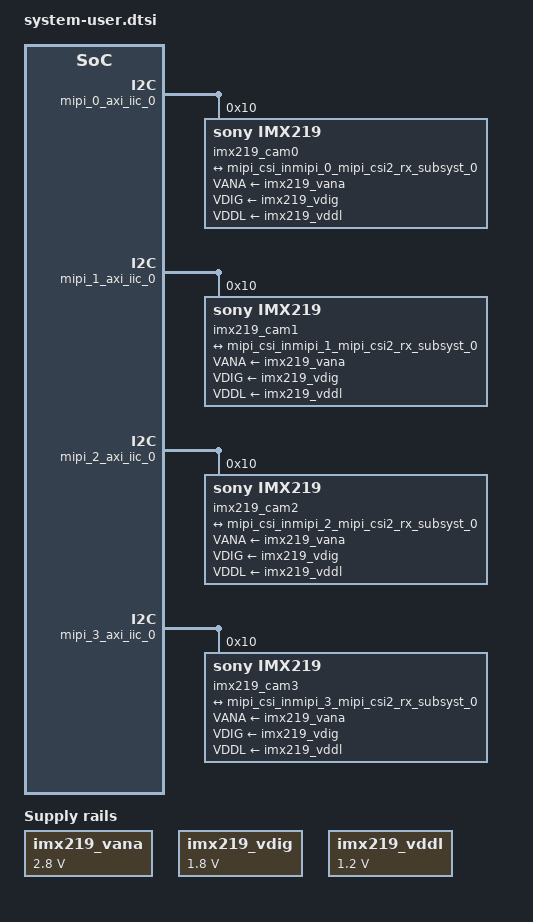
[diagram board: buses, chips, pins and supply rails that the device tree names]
/include/ "system-conf.dtsi"
/ {
};

&amba_pl {
	imx219_clk: imx219_clk {
		#clock-cells = <0x0>;
		clock-frequency = <24000000>;
		compatible = "fixed-clock";
	};


	imx219_vana: fixedregulator@3 {
		compatible = "regulator-fixed";
		regulator-name = "imx219_vana";
		regulator-min-microvolt = <2800000>;
		regulator-max-microvolt = <2800000>;
		enable-active-high;
	};

	imx219_vdig: fixedregulator@4 {
		compatible = "regulator-fixed";
		regulator-name = "imx219_vdig";
		regulator-min-microvolt = <1800000>;
		regulator-max-microvolt = <1800000>;
	};

	imx219_vddl: fixedregulator@5 {
		compatible = "regulator-fixed";
		regulator-name = "imx219_vddl";
		regulator-min-microvolt = <1200000>;
		regulator-max-microvolt = <1200000>;
	};
	
};

&mipi_0_axi_iic_0 {
	imx219_cam0: sensor@10 {
		compatible = "sony,imx219";
		reg = <0x10>;
		clocks = <&imx219_clk>;
		VANA-supply = <&imx219_vana>;   /* 2.8v */
		VDIG-supply = <&imx219_vdig>;   /* 1.8v */
		VDDL-supply = <&imx219_vddl>;   /* 1.2v */

		port {
		     imx219_cam0_0: endpoint {
			remote-endpoint = <&mipi_csi_inmipi_0_mipi_csi2_rx_subsyst_0>;
			data-lanes = <1 2>;
			link-frequencies = /bits/ 64 <456000000>;
			};
		};
	};
};

&mipi_1_axi_iic_0 {
	imx219_cam1: sensor@10 {
		compatible = "sony,imx219";
		reg = <0x10>;
		clocks = <&imx219_clk>;
		VANA-supply = <&imx219_vana>;   /* 2.8v */
		VDIG-supply = <&imx219_vdig>;   /* 1.8v */
		VDDL-supply = <&imx219_vddl>;   /* 1.2v */

		port {
		     imx219_cam1_0: endpoint {
			remote-endpoint = <&mipi_csi_inmipi_1_mipi_csi2_rx_subsyst_0>;
			data-lanes = <1 2>;
			link-frequencies = /bits/ 64 <456000000>;
			};
		};
	};
};

&mipi_2_axi_iic_0 {
	imx219_cam2: sensor@10 {
		compatible = "sony,imx219";
		reg = <0x10>;
		clocks = <&imx219_clk>;
		VANA-supply = <&imx219_vana>;   /* 2.8v */
		VDIG-supply = <&imx219_vdig>;   /* 1.8v */
		VDDL-supply = <&imx219_vddl>;   /* 1.2v */

		port {
		     imx219_cam2_0: endpoint {
			remote-endpoint = <&mipi_csi_inmipi_2_mipi_csi2_rx_subsyst_0>;
			data-lanes = <1 2>;
			link-frequencies = /bits/ 64 <456000000>;
			};
		};
	};
};

&mipi_3_axi_iic_0 {
	imx219_cam3: sensor@10 {
		compatible = "sony,imx219";
		reg = <0x10>;
		clocks = <&imx219_clk>;
		VANA-supply = <&imx219_vana>;   /* 2.8v */
		VDIG-supply = <&imx219_vdig>;   /* 1.8v */
		VDDL-supply = <&imx219_vddl>;   /* 1.2v */

		port {
		     imx219_cam3_0: endpoint {
			remote-endpoint = <&mipi_csi_inmipi_3_mipi_csi2_rx_subsyst_0>;
			data-lanes = <1 2>;
			link-frequencies = /bits/ 64 <456000000>;
			};
		};
	};
};

&mipi_0_mipi_csi2_rx_subsyst_0 {
	xlnx,en-active-lanes;
};

&mipi_1_mipi_csi2_rx_subsyst_0 {
	xlnx,en-active-lanes;
};

&mipi_2_mipi_csi2_rx_subsyst_0 {
	xlnx,en-active-lanes;
};

&mipi_3_mipi_csi2_rx_subsyst_0 {
	xlnx,en-active-lanes;
};

&mipi_csi_inmipi_0_mipi_csi2_rx_subsyst_0 {
	remote-endpoint = <&imx219_cam0_0>;
};

&mipi_csi_inmipi_1_mipi_csi2_rx_subsyst_0 {
	remote-endpoint = <&imx219_cam1_0>;
};

&mipi_csi_inmipi_2_mipi_csi2_rx_subsyst_0 {
	remote-endpoint = <&imx219_cam2_0>;
};

&mipi_csi_inmipi_3_mipi_csi2_rx_subsyst_0 {
	remote-endpoint = <&imx219_cam3_0>;
};

&xx_mix_masterv_mix {
	v_mixv_tpg: endpoint {
		remote-endpoint = <&tpg_outv_tpg>;
	};
};

&v_axi4s_remap {
	remap_ports: ports {
		#address-cells = <1>;
		#size-cells = <0>;
		remap_port0: port@0 {
			reg = <0>;
			v_axi4s_remapv_mix: endpoint {
				remote-endpoint = <&mixer_crtcv_mix>;
			};
		};
	};
};

&mipi_0_v_proc {
	compatible = "xlnx,v-vpss-scaler-2.2";
};

&mipi_1_v_proc {
	compatible = "xlnx,v-vpss-scaler-2.2";
};

&mipi_2_v_proc {
	compatible = "xlnx,v-vpss-scaler-2.2";
};

&mipi_3_v_proc {
	compatible = "xlnx,v-vpss-scaler-2.2";
};


